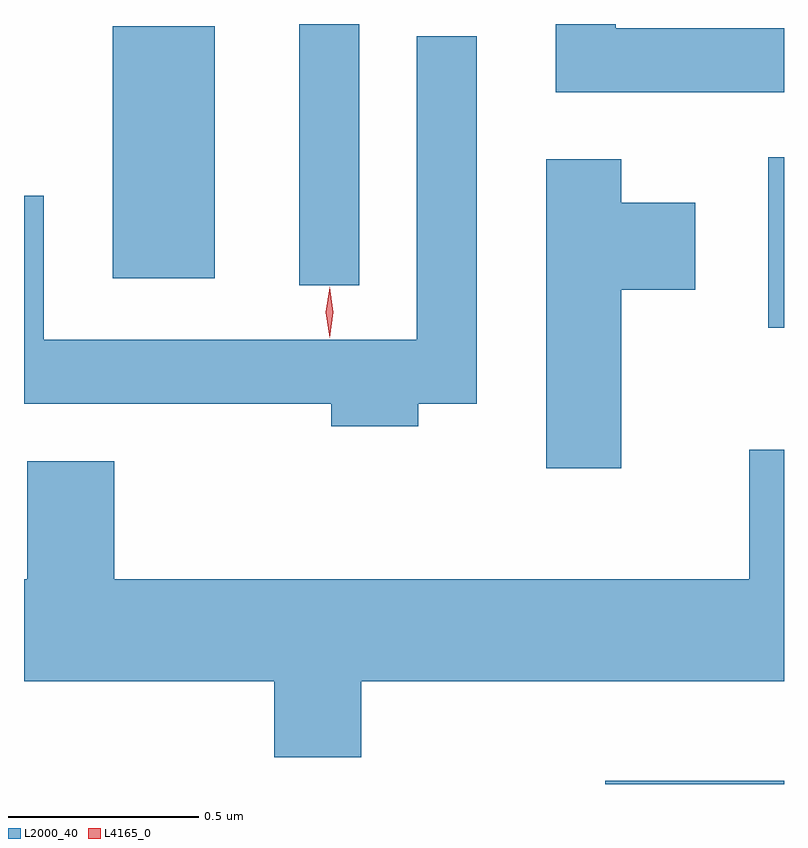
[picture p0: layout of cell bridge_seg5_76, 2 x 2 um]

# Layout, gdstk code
import gdstk
lib = gdstk.Library(unit=1e-6, precision=1e-09)
def R(c, l, rs):  # rectangles x0, y0, x1, y1
    for r in rs: c.add(gdstk.rectangle(r[:2], r[2:], *l))
def P(c, l, *ps):  # polygons
    for p in ps: c.add(gdstk.Polygon(p, *l))
L2000_40 = (2000, 40)
L4165_0 = (4165, 0)

bridge_seg5_76 = lib.new_cell('bridge_seg5_76')
R(bridge_seg5_76, L2000_40, [(1290.671,1472.065,1291.142,1472.074), (1291.101,1473.266,1291.142,1473.714), (1289.866,1473.378,1290.024,1474.065), (1289.376,1473.396,1289.644,1474.059)])
P(bridge_seg5_76, L2000_40, [(1291.142,1474.054),(1290.699,1474.054),(1290.699,1474.065),(1290.541,1474.065),(1290.541,1473.886),(1291.142,1473.886)],
  [(1290.179,1473.066),(1290.334,1473.066),(1290.334,1474.033),(1290.176,1474.033),(1290.176,1473.234),(1289.194,1473.234),(1289.194,1473.613),(1289.142,1473.613),(1289.142,1473.066),(1289.951,1473.066),(1289.951,1473.006),(1290.179,1473.006)],
  [(1290.714,1473.366),(1290.909,1473.366),(1290.909,1473.594),(1290.714,1473.594),(1290.714,1473.709),(1290.516,1473.709),(1290.516,1472.896),(1290.714,1472.896)],
  [(1290.029,1472.336),(1291.142,1472.336),(1291.142,1472.944),(1291.051,1472.944),(1291.051,1472.604),(1289.379,1472.604),(1289.379,1472.914),(1289.151,1472.914),(1289.151,1472.604),(1289.142,1472.604),(1289.142,1472.336),(1289.801,1472.336),(1289.801,1472.136),(1290.029,1472.136)])
P(bridge_seg5_76, L4165_0, [(1289.946,1473.24),(1289.936,1473.306),(1289.946,1473.372),(1289.946,1473.373),(1289.947,1473.372),(1289.956,1473.306),(1289.947,1473.24),(1289.947,1473.24)])

lib.write_gds('bridge_seg5_76.gds')
